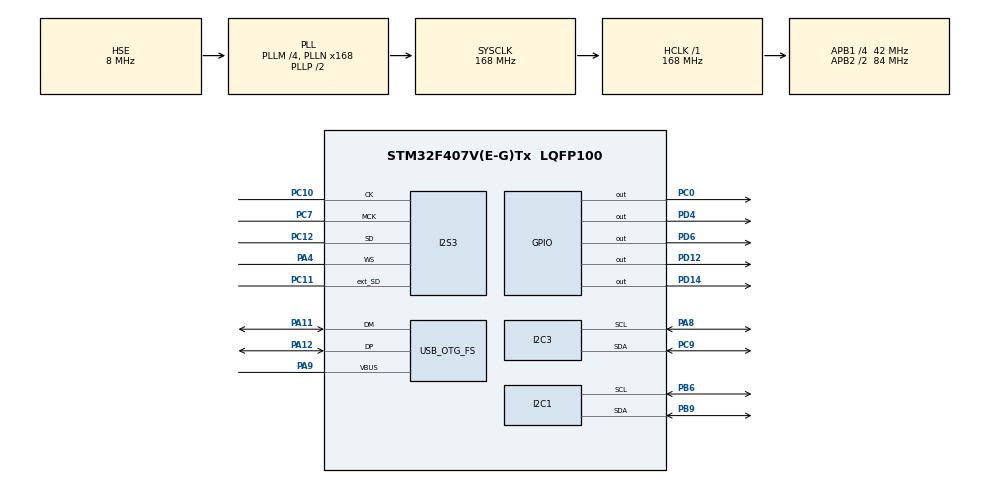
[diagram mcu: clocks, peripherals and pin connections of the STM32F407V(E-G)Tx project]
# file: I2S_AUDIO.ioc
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Dma.Request0=SPI3_TX
Dma.SPI3_TX.0.Direction=DMA_MEMORY_TO_PERIPH
Dma.SPI3_TX.0.FIFOMode=DMA_FIFOMODE_ENABLE
Dma.SPI3_TX.0.FIFOThreshold=DMA_FIFO_THRESHOLD_FULL
Dma.SPI3_TX.0.Instance=DMA1_Stream5
Dma.SPI3_TX.0.MemBurst=DMA_MBURST_INC8
Dma.SPI3_TX.0.MemDataAlignment=DMA_MDATAALIGN_HALFWORD
Dma.SPI3_TX.0.MemInc=DMA_MINC_ENABLE
Dma.SPI3_TX.0.Mode=DMA_NORMAL
Dma.SPI3_TX.0.PeriphBurst=DMA_PBURST_SINGLE
Dma.SPI3_TX.0.PeriphDataAlignment=DMA_PDATAALIGN_HALFWORD
Dma.SPI3_TX.0.PeriphInc=DMA_PINC_DISABLE
Dma.SPI3_TX.0.Priority=DMA_PRIORITY_LOW
FATFS._MAX_SS=4096
I2C1.OwnAddress=0x33
I2S3.AudioFreq=I2S_AUDIOFREQ_48K
I2S3.ErrorAudioFreq=-2.34 %
I2S3.FullDuplexMode=I2S_FULLDUPLEXMODE_ENABLE
I2S3.Instance=SPI$Index
I2S3.RealAudioFreq=46.875 KHz
I2S3.VirtualMode=I2S_MODE_MASTER
Mcu.Family=STM32F4
Mcu.Name=STM32F407V(E-G)Tx
Mcu.Package=LQFP100
NVIC.DMA1_Stream5_IRQn=true\:0\:0\:false\:false\:true\:true\:true
NVIC.OTG_FS_IRQn=true\:0\:0\:false\:false\:true\:true\:true
NVIC.PriorityGroup=NVIC_PRIORITYGROUP_4
PA11.Mode=Host_Only
PA11.Signal=USB_OTG_FS_DM
PA12.Mode=Host_Only
PA12.Signal=USB_OTG_FS_DP
PA4.Mode=Full_Duplex_Master
PA4.Signal=I2S3_WS
PA8.Mode=I2C
PA8.Signal=I2C3_SCL
PA9.Mode=Activate_VBUS
PA9.Signal=USB_OTG_FS_VBUS
PB6.Mode=I2C
PB6.Signal=I2C1_SCL
PB9.Mode=I2C
PB9.Signal=I2C1_SDA
PC0.Signal=GPIO_Output
PC10.Mode=Full_Duplex_Master
PC10.Signal=I2S3_CK
PC11.Mode=Full_Duplex_Master
PC11.Signal=I2S3_ext_SD
PC12.Mode=Full_Duplex_Master
PC12.Signal=I2S3_SD
PC7.Mode=Master_Clock_Activated
PC7.Signal=I2S3_MCK
PC9.Mode=I2C
PC9.Signal=I2C3_SDA
PD12.Signal=GPIO_Output
PD14.Signal=GPIO_Output
PD4.GPIO_PuPd=GPIO_PULLDOWN
PD4.GPIO_Speed=GPIO_SPEED_FREQ_MEDIUM
PD4.Signal=GPIO_Output
PD6.Signal=GPIO_Output
PH0-OSC_IN.Mode=HSE-External-Oscillator
PH0-OSC_IN.Signal=RCC_OSC_IN
PH1-OSC_OUT.Mode=HSE-External-Oscillator
PH1-OSC_OUT.Signal=RCC_OSC_OUT
ProjectManager.HeapSize=0x200
ProjectManager.StackSize=0x400
ProjectManager.TargetToolchain=MDK-ARM V5
RCC.48MHZClocksFreq_Value=48000000
RCC.AHBFreq_Value=168000000
RCC.APB1CLKDivider=RCC_HCLK_DIV4
RCC.APB1Freq_Value=42000000
RCC.APB1TimFreq_Value=84000000
RCC.APB2CLKDivider=RCC_HCLK_DIV2
RCC.APB2Freq_Value=84000000
RCC.APB2TimFreq_Value=168000000
RCC.CortexFreq_Value=168000000
RCC.HCLKFreq_Value=168000000
RCC.HSE_VALUE=8000000
RCC.HSI_VALUE=16000000
RCC.LSE_VALUE=32768
RCC.PLLM=4
RCC.PLLN=168
RCC.PLLQ=7
RCC.SYSCLKFreq_VALUE=168000000
RCC.SYSCLKSource=RCC_SYSCLKSOURCE_PLLCLK
RCC.VCOOutputFreq_Value=336000000
USB_HOST.USBH_HandleTypeDef-MSC_FS=hUsbHostFS
USB_HOST.VirtualModeFS=Msc
USB_OTG_FS.VirtualMode=Host_Only
USB_OTG_FS.phy_itface=HCD_PHY_EMBEDDED
VP_FATFS_VS_USB.Mode=USB
VP_RNG_VS_RNG.Mode=RNG_Activate
VP_USB_HOST_VS_USB_HOST_MSC_FS.Mode=MSC_FS
board=I2S_AUDIO

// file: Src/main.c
/* USER CODE BEGIN Header */
/**
  ******************************************************************************
  * @file           : main.c
  * @brief          : Main program body
  ******************************************************************************
  * @attention
  *
  * <h2><center>&copy; Copyright (c) 2021 STMicroelectronics.
  * All rights reserved.</center></h2>
  *
  * This software component is licensed by ST under Ultimate Liberty license
  * SLA0044, the "License"; You may not use this file except in compliance with
  * the License. You may obtain a copy of the License at:
  *                             www.st.com/SLA0044
  *
  ******************************************************************************
  */
/* USER CODE END Header */

#include "main.h"
#include "fatfs.h"
#include "usb_host.h"

/* USER CODE BEGIN Includes */
#include "main.h"
/* USER CODE END Includes */

I2C_HandleTypeDef hi2c1;
I2C_HandleTypeDef hi2c3;

I2S_HandleTypeDef hi2s3;
DMA_HandleTypeDef hdma_spi3_tx;

RNG_HandleTypeDef hrng;

/* USER CODE BEGIN PV */
/* Private variables ---------------------------------------------------------*/
FATFS USBDISKFatFs;
FIL WavFile;
extern char USBH_Path[4];  /* USBH logical drive path */
extern ApplicationTypeDef Appli_state;
extern AUDIO_StateMachine     Audio;
WAVE_FormatTypeDef *waveformat =  NULL;
uint32_t WaveDataLength = 0;
char str[100];
char FileName[100]={0};
uint8_t info[44];
/* USER CODE END PV */

void SystemClock_Config(void);
static void MX_GPIO_Init(void);
static void MX_DMA_Init(void);
static void MX_I2C1_Init(void);
static void MX_I2C3_Init(void);
static void MX_I2S3_Init(void);
static void MX_RNG_Init(void);
void MX_USB_HOST_Process(void);

/* USER CODE BEGIN PFP */
/* Private function prototypes -----------------------------------------------*/

/* USER CODE END PFP */

/* USER CODE BEGIN 0 */
//-----------------------------------------------------
void GetFileInfo(void)
{
	if(f_open(&WavFile,FileName, FA_OPEN_EXISTING | FA_READ)==FR_OK)
	{
		uint32_t duration;
		uint32_t bytesread;
		if(f_read(&WavFile, info, 44, (void*)&bytesread)==FR_OK)
		{
			waveformat=(WAVE_FormatTypeDef*)info;
			sprintf((char*)str, "%d", (int)(waveformat->SampleRate));
			LCD_SetPos(0,2);
			LCD_String(str);
			sprintf((char*)str, " %d", (int)(waveformat->NbrChannels));
			LCD_String(str);
			duration = waveformat->FileSize / waveformat->ByteRate;
			sprintf((char*)str, " %d %02d:%02d", (int)(waveformat->FileSize/1024),
				(int)duration/60, (int)duration%60);
			LCD_String(str);
		}
		f_close(&WavFile);
	}
}
//-----------------------------------------------------
void MenuProcess(void)
{
	if(Appli_state==APPLICATION_READY)
	{
		switch(Audio.state)
		{
			case AUDIO_IDLE:
				Audio.state=AUDIO_WAIT;
				LCD_SetPos(0,0);
				LCD_String("Stm32 Audio Player");
				break;
			case AUDIO_WAIT:
				LCD_SetPos(0,1);
				if(f_mount(&USBDISKFatFs, (TCHAR const*)USBH_Path,0)!=FR_OK)
				{
					LCD_String("Can't Init FatFs!");
				}
				else
				{
					LCD_String("FatFs Initialized!");
				}
				f_close(&WavFile);
				GetFileInfo();
				AudioPlay_Init(waveformat->SampleRate);
				Audio.state = AUDIO_PLAYBACK;
				break;
			case AUDIO_EXPLORE:
				break;
			case AUDIO_PLAYBACK:
				WaveDataLength=waveformat->FileSize;
				if(f_open(&WavFile,FileName, FA_OPEN_EXISTING | FA_READ)==FR_OK)
				{
					AudioPlay_Start(waveformat->SampleRate);
					f_close(&WavFile);
				}
				LCD_Clear();
				sprintf(FileName,"Track2.wav");
				Audio.state=AUDIO_IDLE;
				break;
			case AUDIO_IN:
				break;
			default:
				break;
		}
	}
}
/* USER CODE END 0 */

int main(void)
{

  /* MCU Configuration--------------------------------------------------------*/

  /* Reset of all peripherals, Initializes the Flash interface and the Systick. */
  HAL_Init();

  /* Configure the system clock */
  SystemClock_Config();

  /* Initialize all configured peripherals */
  MX_GPIO_Init();
  MX_DMA_Init();
  MX_I2C1_Init();
  MX_I2C3_Init();
  MX_I2S3_Init();
  MX_RNG_Init();
  MX_FATFS_Init();
  MX_USB_HOST_Init();
  /* USER CODE BEGIN 2 */
	LCD_ini();
	LCD_Clear();
	HAL_Delay(500);
	sprintf(FileName,"Track1.wav");
  /* USER CODE END 2 */

  /* Infinite loop */
  while (1)
  {
    MX_USB_HOST_Process();

    /* USER CODE BEGIN 3 */
		MenuProcess();
	}
  /* USER CODE END 3 */
}

void SystemClock_Config(void)
{
  RCC_OscInitTypeDef RCC_OscInitStruct = {0};
  RCC_ClkInitTypeDef RCC_ClkInitStruct = {0};
  RCC_PeriphCLKInitTypeDef PeriphClkInitStruct = {0};

  /** Configure the main internal regulator output voltage
  */
  __HAL_RCC_PWR_CLK_ENABLE();
  __HAL_PWR_VOLTAGESCALING_CONFIG(PWR_REGULATOR_VOLTAGE_SCALE1);
  /** Initializes the CPU, AHB and APB busses clocks
  */
  RCC_OscInitStruct.OscillatorType = RCC_OSCILLATORTYPE_HSE;
  RCC_OscInitStruct.HSEState = RCC_HSE_ON;
  RCC_OscInitStruct.PLL.PLLState = RCC_PLL_ON;
  RCC_OscInitStruct.PLL.PLLSource = RCC_PLLSOURCE_HSE;
  RCC_OscInitStruct.PLL.PLLM = 4;
  RCC_OscInitStruct.PLL.PLLN = 168;
  RCC_OscInitStruct.PLL.PLLP = RCC_PLLP_DIV2;
  RCC_OscInitStruct.PLL.PLLQ = 7;
  if (HAL_RCC_OscConfig(&RCC_OscInitStruct) != HAL_OK)
  {
    Error_Handler();
  }
  /** Initializes the CPU, AHB and APB busses clocks
  */
  RCC_ClkInitStruct.ClockType = RCC_CLOCKTYPE_HCLK|RCC_CLOCKTYPE_SYSCLK
                              |RCC_CLOCKTYPE_PCLK1|RCC_CLOCKTYPE_PCLK2;
  RCC_ClkInitStruct.SYSCLKSource = RCC_SYSCLKSOURCE_PLLCLK;
  RCC_ClkInitStruct.AHBCLKDivider = RCC_SYSCLK_DIV1;
  RCC_ClkInitStruct.APB1CLKDivider = RCC_HCLK_DIV4;
  RCC_ClkInitStruct.APB2CLKDivider = RCC_HCLK_DIV2;

  if (HAL_RCC_ClockConfig(&RCC_ClkInitStruct, FLASH_LATENCY_5) != HAL_OK)
  {
    Error_Handler();
  }
  PeriphClkInitStruct.PeriphClockSelection = RCC_PERIPHCLK_I2S;
  PeriphClkInitStruct.PLLI2S.PLLI2SN = 192;
  PeriphClkInitStruct.PLLI2S.PLLI2SR = 2;
  if (HAL_RCCEx_PeriphCLKConfig(&PeriphClkInitStruct) != HAL_OK)
  {
    Error_Handler();
  }
}

static void MX_I2C1_Init(void)
{

  hi2c1.Instance = I2C1;
  hi2c1.Init.ClockSpeed = 100000;
  hi2c1.Init.DutyCycle = I2C_DUTYCYCLE_2;
  hi2c1.Init.OwnAddress1 = 102;
  hi2c1.Init.AddressingMode = I2C_ADDRESSINGMODE_7BIT;
  hi2c1.Init.DualAddressMode = I2C_DUALADDRESS_DISABLE;
  hi2c1.Init.OwnAddress2 = 0;
  hi2c1.Init.GeneralCallMode = I2C_GENERALCALL_DISABLE;
  hi2c1.Init.NoStretchMode = I2C_NOSTRETCH_DISABLE;
  if (HAL_I2C_Init(&hi2c1) != HAL_OK)
  {
    Error_Handler();
  }

}

static void MX_I2C3_Init(void)
{

  hi2c3.Instance = I2C3;
  hi2c3.Init.ClockSpeed = 100000;
  hi2c3.Init.DutyCycle = I2C_DUTYCYCLE_2;
  hi2c3.Init.OwnAddress1 = 0;
  hi2c3.Init.AddressingMode = I2C_ADDRESSINGMODE_7BIT;
  hi2c3.Init.DualAddressMode = I2C_DUALADDRESS_DISABLE;
  hi2c3.Init.OwnAddress2 = 0;
  hi2c3.Init.GeneralCallMode = I2C_GENERALCALL_DISABLE;
  hi2c3.Init.NoStretchMode = I2C_NOSTRETCH_DISABLE;
  if (HAL_I2C_Init(&hi2c3) != HAL_OK)
  {
    Error_Handler();
  }

}

static void MX_I2S3_Init(void)
{

  hi2s3.Instance = SPI3;
  hi2s3.Init.Mode = I2S_MODE_MASTER_TX;
  hi2s3.Init.Standard = I2S_STANDARD_PHILIPS;
  hi2s3.Init.DataFormat = I2S_DATAFORMAT_16B;
  hi2s3.Init.MCLKOutput = I2S_MCLKOUTPUT_ENABLE;
  hi2s3.Init.AudioFreq = I2S_AUDIOFREQ_48K;
  hi2s3.Init.CPOL = I2S_CPOL_LOW;
  hi2s3.Init.ClockSource = I2S_CLOCK_PLL;
  hi2s3.Init.FullDuplexMode = I2S_FULLDUPLEXMODE_ENABLE;
  if (HAL_I2S_Init(&hi2s3) != HAL_OK)
  {
    Error_Handler();
  }

}

static void MX_RNG_Init(void)
{

  hrng.Instance = RNG;
  if (HAL_RNG_Init(&hrng) != HAL_OK)
  {
    Error_Handler();
  }

}

static void MX_DMA_Init(void)
{

  /* DMA controller clock enable */
  __HAL_RCC_DMA1_CLK_ENABLE();

  /* DMA interrupt init */
  /* DMA1_Stream5_IRQn interrupt configuration */
  HAL_NVIC_SetPriority(DMA1_Stream5_IRQn, 0, 0);
  HAL_NVIC_EnableIRQ(DMA1_Stream5_IRQn);

}

static void MX_GPIO_Init(void)
{
  GPIO_InitTypeDef GPIO_InitStruct = {0};

  /* GPIO Ports Clock Enable */
  __HAL_RCC_GPIOH_CLK_ENABLE();
  __HAL_RCC_GPIOC_CLK_ENABLE();
  __HAL_RCC_GPIOA_CLK_ENABLE();
  __HAL_RCC_GPIOD_CLK_ENABLE();
  __HAL_RCC_GPIOB_CLK_ENABLE();

  /*Configure GPIO pin Output Level */
  HAL_GPIO_WritePin(GPIOC, GPIO_PIN_0, GPIO_PIN_RESET);

  /*Configure GPIO pin Output Level */
  HAL_GPIO_WritePin(GPIOD, GPIO_PIN_12|GPIO_PIN_14|GPIO_PIN_4|GPIO_PIN_6, GPIO_PIN_RESET);

  /*Configure GPIO pin : PC0 */
  GPIO_InitStruct.Pin = GPIO_PIN_0;
  GPIO_InitStruct.Mode = GPIO_MODE_OUTPUT_PP;
  GPIO_InitStruct.Pull = GPIO_NOPULL;
  GPIO_InitStruct.Speed = GPIO_SPEED_FREQ_LOW;
  HAL_GPIO_Init(GPIOC, &GPIO_InitStruct);

  /*Configure GPIO pins : PD12 PD14 PD6 */
  GPIO_InitStruct.Pin = GPIO_PIN_12|GPIO_PIN_14|GPIO_PIN_6;
  GPIO_InitStruct.Mode = GPIO_MODE_OUTPUT_PP;
  GPIO_InitStruct.Pull = GPIO_NOPULL;
  GPIO_InitStruct.Speed = GPIO_SPEED_FREQ_LOW;
  HAL_GPIO_Init(GPIOD, &GPIO_InitStruct);

  /*Configure GPIO pin : PD4 */
  GPIO_InitStruct.Pin = GPIO_PIN_4;
  GPIO_InitStruct.Mode = GPIO_MODE_OUTPUT_PP;
  GPIO_InitStruct.Pull = GPIO_PULLDOWN;
  GPIO_InitStruct.Speed = GPIO_SPEED_FREQ_MEDIUM;
  HAL_GPIO_Init(GPIOD, &GPIO_InitStruct);

}

/* USER CODE BEGIN 4 */
void HAL_I2S_TxHalfCpltCallback(I2S_HandleTypeDef *hi2s3)
{
	if(hi2s3->Instance==I2S3)
	{
		AudioPlay_HalfTransfer_Callback();
	}
}

void HAL_I2S_TxCpltCallback(I2S_HandleTypeDef *hi2s3)
{
	if(hi2s3->Instance==I2S3)
	{
		AudioPlay_Transfer_Callback();
	}
}
/* USER CODE END 4 */

void Error_Handler(void)
{
}

/************************ (C) COPYRIGHT STMicroelectronics *****END OF FILE****/
